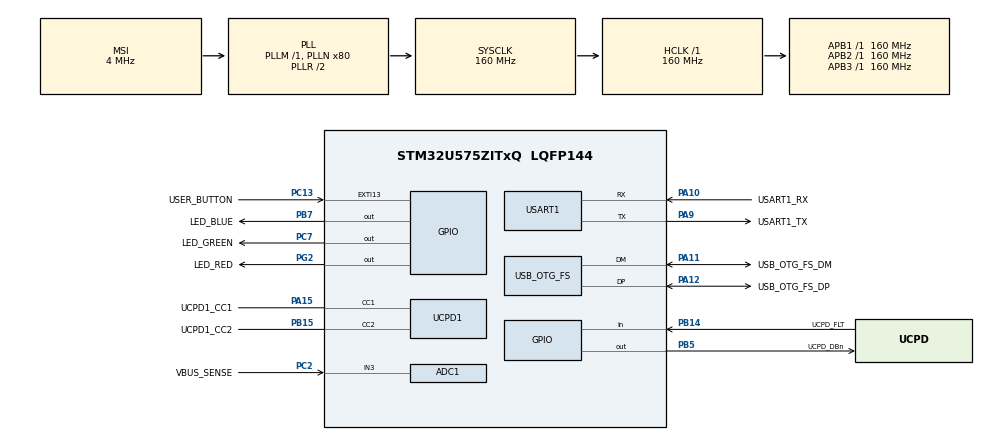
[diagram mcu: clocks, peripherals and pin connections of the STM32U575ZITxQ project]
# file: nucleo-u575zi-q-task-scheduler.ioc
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ADC1.NbrOfConversion=1
ADC1.Resolution=ADC_RESOLUTION_14B
ADC1.master=1
CORTEX_M33_NS.userName=CORTEX_M33
Mcu.Family=STM32U5
Mcu.Name=STM32U575ZITxQ
Mcu.Package=LQFP144
NVIC.OTG_FS_IRQn=true\:0\:0\:false\:false\:true\:true\:true\:true
NVIC.PriorityGroup=NVIC_PRIORITYGROUP_3
NVIC.TIM16_IRQn=true\:0\:0\:false\:false\:true\:true\:true\:true
PA10.GPIO_Label=USART1_RX
PA10.GPIO_PuPd=GPIO_PULLDOWN
PA10.GPIO_Speed=GPIO_SPEED_FREQ_VERY_HIGH
PA10.Mode=Asynchronous
PA10.Signal=USART1_RX
PA11.GPIO_Label=USB_OTG_FS_DM
PA11.GPIO_Speed=GPIO_SPEED_FREQ_VERY_HIGH
PA11.Mode=Device_Only
PA11.Signal=USB_OTG_FS_DM
PA12.GPIO_Label=USB_OTG_FS_DP
PA12.GPIO_Speed=GPIO_SPEED_FREQ_VERY_HIGH
PA12.Mode=Device_Only
PA12.Signal=USB_OTG_FS_DP
PA13\ (JTMS/SWDIO).Mode=Trace_Asynchronous_SW
PA13\ (JTMS/SWDIO).Signal=DEBUG_JTMS-SWDIO
PA14\ (JTCK/SWCLK).Mode=Trace_Asynchronous_SW
PA14\ (JTCK/SWCLK).Signal=DEBUG_JTCK-SWCLK
PA15\ (JTDI).GPIO_Label=UCPD1_CC1
PA15\ (JTDI).Mode=Sink_AllSignals
PA15\ (JTDI).Signal=UCPD1_CC1
PA9.GPIO_Label=USART1_TX
PA9.GPIO_PuPd=GPIO_PULLDOWN
PA9.GPIO_Speed=GPIO_SPEED_FREQ_VERY_HIGH
PA9.Mode=Asynchronous
PA9.Signal=USART1_TX
PB14.GPIO_Label=UCPD_FLT
PB14.Signal=GPIO_Input
PB15.GPIO_Label=UCPD1_CC2
PB15.Mode=Sink_AllSignals
PB15.Signal=UCPD1_CC2
PB3\ (JTDO/TRACESWO).Mode=Trace_Asynchronous_SW
PB3\ (JTDO/TRACESWO).Signal=DEBUG_JTDO-SWO
PB5.GPIO_Label=UCPD_DBn
PB5.Signal=GPIO_Output
PB7.GPIO_Label=LED_BLUE
PB7.GPIO_ModeDefaultOutputPP=GPIO_MODE_OUTPUT_PP
PB7.GPIO_PuPd=GPIO_PULLUP
PB7.GPIO_Speed=GPIO_SPEED_FREQ_HIGH
PB7.Signal=GPIO_Output
PC13.GPIO_Label=USER_BUTTON
PC13.GPIO_ModeDefaultEXTI=GPIO_MODE_IT_FALLING
PC13.Signal=GPXTI13
PC14-OSC32_IN\ (PC14).Mode=LSE-External-Oscillator
PC14-OSC32_IN\ (PC14).Signal=RCC_OSC32_IN
PC15-OSC32_OUT\ (PC15).Mode=LSE-External-Oscillator
PC15-OSC32_OUT\ (PC15).Signal=RCC_OSC32_OUT
PC2.GPIO_Label=VBUS_SENSE
PC2.Mode=IN3-Single-Ended
PC2.Signal=ADC1_IN3
PC7.GPIO_Label=LED_GREEN
PC7.GPIO_PuPd=GPIO_PULLUP
PC7.GPIO_Speed=GPIO_SPEED_FREQ_HIGH
PC7.Signal=GPIO_Output
PG2.GPIO_Label=LED_RED
PG2.GPIO_ModeDefaultOutputPP=GPIO_MODE_OUTPUT_PP
PG2.GPIO_PuPd=GPIO_PULLUP
PG2.GPIO_Speed=GPIO_SPEED_FREQ_HIGH
PG2.Signal=GPIO_Output
PWR.PowerMode=PWR_SMPS_SUPPLY
ProjectManager.HeapSize=0x200
ProjectManager.StackSize=0x400
ProjectManager.TargetToolchain=STM32CubeIDE
RCC.ADCFreq_Value=16000000
RCC.AHBFreq_Value=160000000
RCC.APB1Freq_Value=160000000
RCC.APB1TimFreq_Value=160000000
RCC.APB2Freq_Value=160000000
RCC.APB2TimFreq_Value=160000000
RCC.APB3Freq_Value=160000000
RCC.CortexFreq_Value=160000000
RCC.DACCLockSelectionVirtual=RCC_DAC1CLKSOURCE_LSI
RCC.EPOD_VALUE=4000000
RCC.HCLKFreq_Value=160000000
RCC.HSE_VALUE=16000000
RCC.HSI48_VALUE=48000000
RCC.HSI_VALUE=16000000
RCC.LSIDIV_VALUE=32000
RCC.MSI_VALUE=4000000
RCC.PLLN=80
RCC.SYSCLKFreq_VALUE=160000000
RCC.SYSCLKSource=RCC_SYSCLKSOURCE_PLLCLK
RCC.USBFreq_Value=48000000
RCC.VCOOutputFreq_Value=320000000
TIM16.PeriodNoDither=5000-1
TIM16.Prescaler=320-1
USART1.VirtualMode-Asynchronous=VM_ASYNC
USB_OTG_FS.VirtualMode=Device_Only
VP_ICACHE_VS_ENABLE_ICACHE_MEMORY.Mode=Memoryregions
VP_ICACHE_VS_ICACHE.Mode=DirectMappedCache
VP_LPBAMQUEUE_VS_QUEUE.Mode=QUEUEMODE
VP_LPBAM_VS_SIG1.Mode=SmartRun
VP_LPBAM_VS_SIG4.Mode=LPDMA1
VP_MEMORYMAP_VS_MEMORYMAP.Mode=CurAppReg
VP_PWR_VS_DBSignals.Mode=DisableDeadBatterySignals
VP_PWR_VS_LPOM.Mode=PowerOptimisation
VP_PWR_VS_SECSignals.Mode=Security/Privilege
VP_PWR_Vdda.Mode=isolationVdda
VP_TIM16_VS_ClockSourceINT.Mode=Enable_Timer
board=NUCLEO-U575ZI-Q

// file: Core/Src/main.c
/* USER CODE BEGIN Header */
/**
  ******************************************************************************
  * @file           : main.c
  * @brief          : Main program body
  ******************************************************************************
  * @attention
  *
  * Copyright (c) 2026 STMicroelectronics.
  * All rights reserved.
  *
  * This software is licensed under terms that can be found in the LICENSE file
  * in the root directory of this software component.
  * If no LICENSE file comes with this software, it is provided AS-IS.
  *
  ******************************************************************************
  */
/* USER CODE END Header */
#include "main.h"

/* USER CODE BEGIN Includes */
#include "tasks.h"
/* USER CODE END Includes */

ADC_HandleTypeDef hadc1;

TIM_HandleTypeDef htim16;

UART_HandleTypeDef huart1;

PCD_HandleTypeDef hpcd_USB_OTG_FS;

void SystemClock_Config(void);
static void SystemPower_Config(void);
static void MX_GPIO_Init(void);
static void MX_ADC1_Init(void);
static void MX_ICACHE_Init(void);
static void MX_UCPD1_Init(void);
static void MX_USART1_UART_Init(void);
static void MX_USB_OTG_FS_PCD_Init(void);
static void MX_MEMORYMAP_Init(void);
static void MX_TIM16_Init(void);

int main(void)
{
  /* USER CODE BEGIN 1 */
  //HAL_TIM_Base_Start_IT(&htim16); //think I put this line too early
  /* USER CODE END 1 */

  /* MCU Configuration--------------------------------------------------------*/

  /* Reset of all peripherals, Initializes the Flash interface and the Systick. */
  HAL_Init();

  /* Configure the system clock */
  SystemClock_Config();

  /* Configure the System Power */
  SystemPower_Config();

  /* Initialize all configured peripherals */
  MX_GPIO_Init();
  MX_ADC1_Init();
  MX_ICACHE_Init();
  MX_UCPD1_Init();
  MX_USART1_UART_Init();
  MX_USB_OTG_FS_PCD_Init();
  MX_MEMORYMAP_Init();
  MX_TIM16_Init();
  /* USER CODE BEGIN 2 */
  HAL_TIM_Base_Start_IT(&htim16);
  /* USER CODE END 2 */

  /* Infinite loop */
  /* USER CODE BEGIN WHILE */
  while (1)
  {
     if(ten_ms_elapsed)
     {
     	task_10_ms();
     	ten_ms_elapsed = 0;
     }
     if(hundred_ms_elapsed)
     {
     	task_100_ms();
     	hundred_ms_elapsed = 0;
     }
     if(thousand_ms_elapsed)
     {
     	task_1000_ms();
     	thousand_ms_elapsed = 0;
     }

     if(task_overrun)
     {
     	uint8_t  uart_data[] = "Task overrun detected!\r\n";
     	HAL_UART_Transmit(&huart1, uart_data, sizeof(uart_data) - 1, HAL_MAX_DELAY);
        task_overrun = 0;
     }

    /* USER CODE END WHILE */

  }
}

void SystemClock_Config(void)
{
  RCC_OscInitTypeDef RCC_OscInitStruct = {0};
  RCC_ClkInitTypeDef RCC_ClkInitStruct = {0};

  /** Configure the main internal regulator output voltage
  */
  if (HAL_PWREx_ControlVoltageScaling(PWR_REGULATOR_VOLTAGE_SCALE1) != HAL_OK)
  {
    Error_Handler();
  }

  /** Initializes the CPU, AHB and APB buses clocks
  */
  RCC_OscInitStruct.OscillatorType = RCC_OSCILLATORTYPE_HSI48|RCC_OSCILLATORTYPE_HSI
                              |RCC_OSCILLATORTYPE_MSI;
  RCC_OscInitStruct.HSIState = RCC_HSI_ON;
  RCC_OscInitStruct.HSI48State = RCC_HSI48_ON;
  RCC_OscInitStruct.HSICalibrationValue = RCC_HSICALIBRATION_DEFAULT;
  RCC_OscInitStruct.MSIState = RCC_MSI_ON;
  RCC_OscInitStruct.MSICalibrationValue = RCC_MSICALIBRATION_DEFAULT;
  RCC_OscInitStruct.MSIClockRange = RCC_MSIRANGE_4;
  RCC_OscInitStruct.PLL.PLLState = RCC_PLL_ON;
  RCC_OscInitStruct.PLL.PLLSource = RCC_PLLSOURCE_MSI;
  RCC_OscInitStruct.PLL.PLLMBOOST = RCC_PLLMBOOST_DIV1;
  RCC_OscInitStruct.PLL.PLLM = 1;
  RCC_OscInitStruct.PLL.PLLN = 80;
  RCC_OscInitStruct.PLL.PLLP = 2;
  RCC_OscInitStruct.PLL.PLLQ = 2;
  RCC_OscInitStruct.PLL.PLLR = 2;
  RCC_OscInitStruct.PLL.PLLRGE = RCC_PLLVCIRANGE_0;
  RCC_OscInitStruct.PLL.PLLFRACN = 0;
  if (HAL_RCC_OscConfig(&RCC_OscInitStruct) != HAL_OK)
  {
    Error_Handler();
  }

  /** Initializes the CPU, AHB and APB buses clocks
  */
  RCC_ClkInitStruct.ClockType = RCC_CLOCKTYPE_HCLK|RCC_CLOCKTYPE_SYSCLK
                              |RCC_CLOCKTYPE_PCLK1|RCC_CLOCKTYPE_PCLK2
                              |RCC_CLOCKTYPE_PCLK3;
  RCC_ClkInitStruct.SYSCLKSource = RCC_SYSCLKSOURCE_PLLCLK;
  RCC_ClkInitStruct.AHBCLKDivider = RCC_SYSCLK_DIV1;
  RCC_ClkInitStruct.APB1CLKDivider = RCC_HCLK_DIV1;
  RCC_ClkInitStruct.APB2CLKDivider = RCC_HCLK_DIV1;
  RCC_ClkInitStruct.APB3CLKDivider = RCC_HCLK_DIV1;

  if (HAL_RCC_ClockConfig(&RCC_ClkInitStruct, FLASH_LATENCY_4) != HAL_OK)
  {
    Error_Handler();
  }
}

/**
  * @brief Power Configuration
  * @retval None
  */
static void SystemPower_Config(void)
{
  HAL_PWREx_EnableVddIO2();

  /*
   * Switch to SMPS regulator instead of LDO
   */
  if (HAL_PWREx_ConfigSupply(PWR_SMPS_SUPPLY) != HAL_OK)
  {
    Error_Handler();
  }
}

static void MX_ADC1_Init(void)
{

  /** Common config
  */
  hadc1.Instance = ADC1;
  hadc1.Init.ClockPrescaler = ADC_CLOCK_ASYNC_DIV1;
  hadc1.Init.Resolution = ADC_RESOLUTION_14B;
  hadc1.Init.GainCompensation = 0;
  hadc1.Init.ScanConvMode = ADC_SCAN_DISABLE;
  hadc1.Init.EOCSelection = ADC_EOC_SINGLE_CONV;
  hadc1.Init.LowPowerAutoWait = DISABLE;
  hadc1.Init.ContinuousConvMode = DISABLE;
  hadc1.Init.NbrOfConversion = 1;
  hadc1.Init.DiscontinuousConvMode = DISABLE;
  hadc1.Init.DMAContinuousRequests = DISABLE;
  hadc1.Init.TriggerFrequencyMode = ADC_TRIGGER_FREQ_HIGH;
  hadc1.Init.Overrun = ADC_OVR_DATA_PRESERVED;
  hadc1.Init.LeftBitShift = ADC_LEFTBITSHIFT_NONE;
  hadc1.Init.ConversionDataManagement = ADC_CONVERSIONDATA_DR;
  hadc1.Init.OversamplingMode = DISABLE;
  if (HAL_ADC_Init(&hadc1) != HAL_OK)
  {
    Error_Handler();
  }

}

static void MX_ICACHE_Init(void)
{

  ICACHE_RegionConfigTypeDef pRegionConfig = {0};

  /** Configure and enable a region for memory remapping.
  */
  if (HAL_ICACHE_Disable() != HAL_OK)
  {
    Error_Handler();
  }
  pRegionConfig.BaseAddress = 0x10000000;
  pRegionConfig.RemapAddress = 0x60000000;
  pRegionConfig.Size = ICACHE_REGIONSIZE_2MB;
  pRegionConfig.TrafficRoute = ICACHE_MASTER1_PORT;
  pRegionConfig.OutputBurstType = ICACHE_OUTPUT_BURST_WRAP;
  if (HAL_ICACHE_EnableRemapRegion(_NULL, &pRegionConfig) != HAL_OK)
  {
    Error_Handler();
  }

  /** Enable instruction cache in 1-way (direct mapped cache)
  */
  if (HAL_ICACHE_ConfigAssociativityMode(ICACHE_1WAY) != HAL_OK)
  {
    Error_Handler();
  }
  if (HAL_ICACHE_Enable() != HAL_OK)
  {
    Error_Handler();
  }

}

static void MX_MEMORYMAP_Init(void)
{

}

static void MX_TIM16_Init(void)
{

  htim16.Instance = TIM16;
  htim16.Init.Prescaler = 320-1;
  htim16.Init.CounterMode = TIM_COUNTERMODE_UP;
  htim16.Init.Period = 4999;
  htim16.Init.ClockDivision = TIM_CLOCKDIVISION_DIV1;
  htim16.Init.RepetitionCounter = 0;
  htim16.Init.AutoReloadPreload = TIM_AUTORELOAD_PRELOAD_DISABLE;
  if (HAL_TIM_Base_Init(&htim16) != HAL_OK)
  {
    Error_Handler();
  }

}

static void MX_UCPD1_Init(void)
{

  LL_GPIO_InitTypeDef GPIO_InitStruct = {0};

  /* Peripheral clock enable */
  LL_APB1_GRP2_EnableClock(LL_APB1_GRP2_PERIPH_UCPD1);

  LL_AHB2_GRP1_EnableClock(LL_AHB2_GRP1_PERIPH_GPIOB);
  LL_AHB2_GRP1_EnableClock(LL_AHB2_GRP1_PERIPH_GPIOA);
  /**UCPD1 GPIO Configuration
  PB15   ------> UCPD1_CC2
  PA15 (JTDI)   ------> UCPD1_CC1
  */
  GPIO_InitStruct.Pin = LL_GPIO_PIN_15;
  GPIO_InitStruct.Mode = LL_GPIO_MODE_ANALOG;
  GPIO_InitStruct.Pull = LL_GPIO_PULL_NO;
  LL_GPIO_Init(GPIOB, &GPIO_InitStruct);

  GPIO_InitStruct.Pin = LL_GPIO_PIN_15;
  GPIO_InitStruct.Mode = LL_GPIO_MODE_ANALOG;
  GPIO_InitStruct.Pull = LL_GPIO_PULL_NO;
  LL_GPIO_Init(GPIOA, &GPIO_InitStruct);

}

static void MX_USART1_UART_Init(void)
{

  huart1.Instance = USART1;
  huart1.Init.BaudRate = 115200;
  huart1.Init.WordLength = UART_WORDLENGTH_8B;
  huart1.Init.StopBits = UART_STOPBITS_1;
  huart1.Init.Parity = UART_PARITY_NONE;
  huart1.Init.Mode = UART_MODE_TX_RX;
  huart1.Init.HwFlowCtl = UART_HWCONTROL_NONE;
  huart1.Init.OverSampling = UART_OVERSAMPLING_16;
  huart1.Init.OneBitSampling = UART_ONE_BIT_SAMPLE_DISABLE;
  huart1.Init.ClockPrescaler = UART_PRESCALER_DIV1;
  huart1.AdvancedInit.AdvFeatureInit = UART_ADVFEATURE_NO_INIT;
  if (HAL_UART_Init(&huart1) != HAL_OK)
  {
    Error_Handler();
  }
  if (HAL_UARTEx_SetTxFifoThreshold(&huart1, UART_TXFIFO_THRESHOLD_1_8) != HAL_OK)
  {
    Error_Handler();
  }
  if (HAL_UARTEx_SetRxFifoThreshold(&huart1, UART_RXFIFO_THRESHOLD_1_8) != HAL_OK)
  {
    Error_Handler();
  }
  if (HAL_UARTEx_DisableFifoMode(&huart1) != HAL_OK)
  {
    Error_Handler();
  }

}

static void MX_USB_OTG_FS_PCD_Init(void)
{

  hpcd_USB_OTG_FS.Instance = USB_OTG_FS;
  hpcd_USB_OTG_FS.Init.dev_endpoints = 6;
  hpcd_USB_OTG_FS.Init.speed = PCD_SPEED_FULL;
  hpcd_USB_OTG_FS.Init.phy_itface = PCD_PHY_EMBEDDED;
  hpcd_USB_OTG_FS.Init.Sof_enable = DISABLE;
  hpcd_USB_OTG_FS.Init.low_power_enable = DISABLE;
  hpcd_USB_OTG_FS.Init.lpm_enable = DISABLE;
  hpcd_USB_OTG_FS.Init.battery_charging_enable = DISABLE;
  hpcd_USB_OTG_FS.Init.use_dedicated_ep1 = DISABLE;
  hpcd_USB_OTG_FS.Init.vbus_sensing_enable = DISABLE;
  hpcd_USB_OTG_FS.Init.dma_enable = DISABLE;
  if (HAL_PCD_Init(&hpcd_USB_OTG_FS) != HAL_OK)
  {
    Error_Handler();
  }

}

static void MX_GPIO_Init(void)
{
  GPIO_InitTypeDef GPIO_InitStruct = {0};

  /* GPIO Ports Clock Enable */
  __HAL_RCC_GPIOC_CLK_ENABLE();
  __HAL_RCC_GPIOB_CLK_ENABLE();
  __HAL_RCC_GPIOG_CLK_ENABLE();
  __HAL_RCC_GPIOA_CLK_ENABLE();

  /*Configure GPIO pin Output Level */
  HAL_GPIO_WritePin(LED_RED_GPIO_Port, LED_RED_Pin, GPIO_PIN_RESET);

  /*Configure GPIO pin Output Level */
  HAL_GPIO_WritePin(LED_GREEN_GPIO_Port, LED_GREEN_Pin, GPIO_PIN_RESET);

  /*Configure GPIO pin Output Level */
  HAL_GPIO_WritePin(GPIOB, UCPD_DBn_Pin|LED_BLUE_Pin, GPIO_PIN_RESET);

  /*Configure GPIO pin : USER_BUTTON_Pin */
  GPIO_InitStruct.Pin = USER_BUTTON_Pin;
  GPIO_InitStruct.Mode = GPIO_MODE_IT_FALLING;
  GPIO_InitStruct.Pull = GPIO_NOPULL;
  HAL_GPIO_Init(USER_BUTTON_GPIO_Port, &GPIO_InitStruct);

  /*Configure GPIO pin : UCPD_FLT_Pin */
  GPIO_InitStruct.Pin = UCPD_FLT_Pin;
  GPIO_InitStruct.Mode = GPIO_MODE_INPUT;
  GPIO_InitStruct.Pull = GPIO_NOPULL;
  HAL_GPIO_Init(UCPD_FLT_GPIO_Port, &GPIO_InitStruct);

  /*Configure GPIO pin : LED_RED_Pin */
  GPIO_InitStruct.Pin = LED_RED_Pin;
  GPIO_InitStruct.Mode = GPIO_MODE_OUTPUT_PP;
  GPIO_InitStruct.Pull = GPIO_PULLUP;
  GPIO_InitStruct.Speed = GPIO_SPEED_FREQ_HIGH;
  HAL_GPIO_Init(LED_RED_GPIO_Port, &GPIO_InitStruct);

  /*Configure GPIO pin : LED_GREEN_Pin */
  GPIO_InitStruct.Pin = LED_GREEN_Pin;
  GPIO_InitStruct.Mode = GPIO_MODE_OUTPUT_PP;
  GPIO_InitStruct.Pull = GPIO_PULLUP;
  GPIO_InitStruct.Speed = GPIO_SPEED_FREQ_HIGH;
  HAL_GPIO_Init(LED_GREEN_GPIO_Port, &GPIO_InitStruct);

  /*Configure GPIO pin : UCPD_DBn_Pin */
  GPIO_InitStruct.Pin = UCPD_DBn_Pin;
  GPIO_InitStruct.Mode = GPIO_MODE_OUTPUT_PP;
  GPIO_InitStruct.Pull = GPIO_NOPULL;
  GPIO_InitStruct.Speed = GPIO_SPEED_FREQ_LOW;
  HAL_GPIO_Init(UCPD_DBn_GPIO_Port, &GPIO_InitStruct);

  /*Configure GPIO pin : LED_BLUE_Pin */
  GPIO_InitStruct.Pin = LED_BLUE_Pin;
  GPIO_InitStruct.Mode = GPIO_MODE_OUTPUT_PP;
  GPIO_InitStruct.Pull = GPIO_PULLUP;
  GPIO_InitStruct.Speed = GPIO_SPEED_FREQ_HIGH;
  HAL_GPIO_Init(LED_BLUE_GPIO_Port, &GPIO_InitStruct);

}

void Error_Handler(void)
{
  __disable_irq();
  while (1)
  {
  }
}
